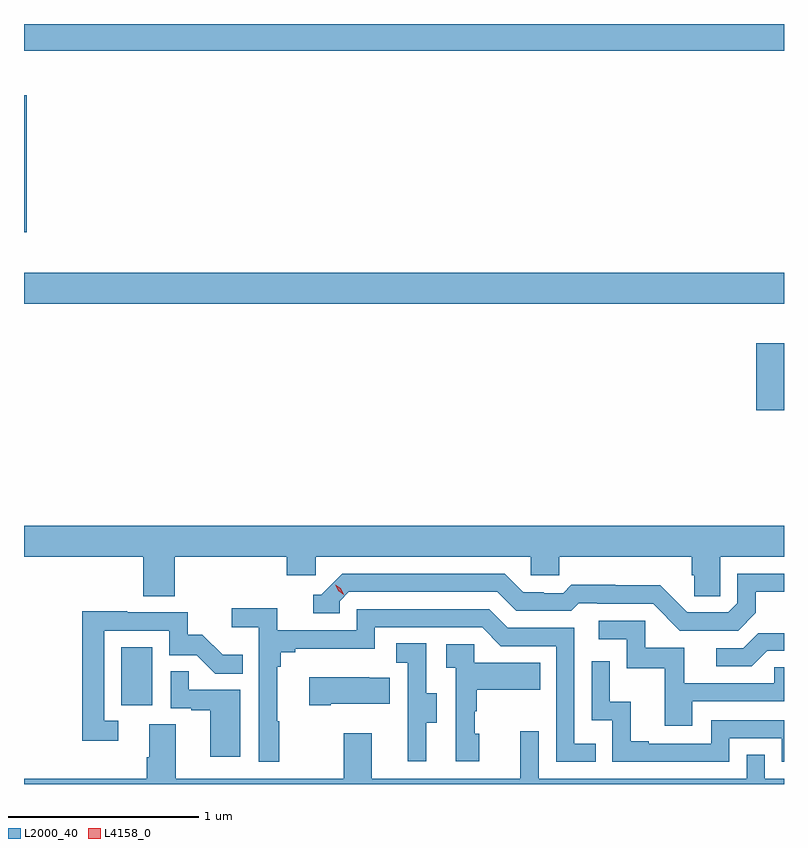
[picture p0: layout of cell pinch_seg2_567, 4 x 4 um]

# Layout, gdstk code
import gdstk
lib = gdstk.Library(unit=1e-6, precision=1e-09)
def R(c, l, rs):  # rectangles x0, y0, x1, y1
    for r in rs: c.add(gdstk.rectangle(r[:2], r[2:], *l))
def P(c, l, *ps):  # polygons
    for p in ps: c.add(gdstk.Polygon(p, *l))
L2000_40 = (2000, 40)
L4158_0 = (4158, 0)

pinch_seg2_567 = lib.new_cell('pinch_seg2_567')
R(pinch_seg2_567, L2000_40, [(1079.96,614.886,1080.124,615.193), (1083.302,616.439,1083.449,616.792), (1079.449,617,1083.449,617.164), (1079.449,617.376,1079.464,618.097), (1079.449,618.332,1083.449,618.472)])
P(pinch_seg2_567, L2000_40, [(1080.242,615.668),(1080.833,615.668),(1080.833,615.57),(1080.984,615.57),(1080.984,615.668),(1082.115,615.668),(1082.115,615.57),(1082.265,615.57),(1082.265,615.668),(1082.963,615.668),(1082.963,615.57),(1082.977,615.57),(1082.977,615.46),(1083.114,615.46),(1083.114,615.668),(1083.449,615.668),(1083.449,615.832),(1079.449,615.832),(1079.449,615.668),(1080.077,615.668),(1080.077,615.46),(1080.242,615.46)],
  [(1083.301,615.373),(1083.301,615.483),(1083.449,615.483),(1083.449,615.579),(1083.204,615.579),(1083.204,615.423),(1083.156,615.375),(1082.94,615.375),(1082.798,615.517),(1082.562,615.517),(1082.562,615.52),(1082.329,615.52),(1082.287,615.477),(1082.184,615.477),(1082.184,615.48),(1082.077,615.48),(1081.978,615.579),(1081.125,615.579),(1081.014,615.468),(1080.971,615.468),(1080.971,615.372),(1081.11,615.372),(1081.11,615.435),(1081.158,615.483),(1081.941,615.483),(1082.04,615.384),(1082.329,615.384),(1082.368,615.423),(1082.467,615.423),(1082.467,615.42),(1082.76,615.42),(1082.901,615.279),(1083.207,615.279)],
  [(1080.793,614.801),(1080.781,614.801),(1080.781,615.089),(1080.8,615.089),(1080.8,615.166),(1080.877,615.166),(1080.877,615.185),(1081.296,615.185),(1081.296,615.297),(1081.86,615.297),(1081.959,615.198),(1082.25,615.198),(1082.25,614.589),(1082.459,614.589),(1082.459,614.685),(1082.346,614.685),(1082.346,615.294),(1081.996,615.294),(1081.897,615.393),(1081.2,615.393),(1081.2,615.282),(1080.782,615.282),(1080.782,615.398),(1080.543,615.398),(1080.543,615.296),(1080.684,615.296),(1080.684,614.589),(1080.793,614.589)],
  [(1079.944,614.805),(1079.871,614.805),(1079.871,615.279),(1080.213,615.279),(1080.213,615.15),(1080.357,615.15),(1080.455,615.052),(1080.599,615.052),(1080.599,615.151),(1080.495,615.151),(1080.388,615.258),(1080.312,615.258),(1080.312,615.375),(1079.993,615.375),(1079.993,615.38),(1079.755,615.38),(1079.755,614.7),(1079.944,614.7)],
  [(1082.965,614.907),(1083.449,614.907),(1083.449,615.087),(1083.397,615.087),(1083.397,615.003),(1082.923,615.003),(1082.923,615.189),(1082.718,615.189),(1082.718,615.33),(1082.475,615.33),(1082.475,615.234),(1082.622,615.234),(1082.622,615.081),(1082.821,615.081),(1082.821,614.778),(1082.965,614.778)],
  [(1083.361,615.174),(1083.449,615.174),(1083.449,615.266),(1083.314,615.266),(1083.234,615.186),(1083.093,615.186),(1083.093,615.093),(1083.28,615.093)],
  [(1081.567,614.794),(1081.621,614.794),(1081.621,614.949),(1081.566,614.949),(1081.566,615.212),(1081.407,615.212),(1081.407,615.109),(1081.47,615.109),(1081.47,614.805),(1081.469,614.805),(1081.469,614.592),(1081.567,614.592)],
  [(1081.846,614.736),(1081.821,614.736),(1081.821,614.855),(1081.831,614.855),(1081.831,614.969),(1082.165,614.969),(1082.165,615.109),(1081.818,615.109),(1081.818,615.207),(1081.671,615.207),(1081.671,615.083),(1081.722,615.083),(1081.722,614.592),(1081.846,614.592)],
  [(1083.162,614.712),(1083.438,614.712),(1083.438,614.589),(1083.449,614.589),(1083.449,614.808),(1083.066,614.808),(1083.066,614.685),(1082.737,614.685),(1082.737,614.698),(1082.642,614.698),(1082.642,614.906),(1082.532,614.906),(1082.532,615.118),(1082.436,615.118),(1082.436,614.808),(1082.544,614.808),(1082.544,614.589),(1083.162,614.589)],
  [(1080.586,614.967),(1080.317,614.967),(1080.317,615.065),(1080.222,615.065),(1080.222,614.871),(1080.329,614.871),(1080.329,614.859),(1080.428,614.859),(1080.428,614.616),(1080.586,614.616)],
  [(1081.063,614.894),(1081.373,614.894),(1081.373,615.031),(1081.265,615.031),(1081.265,615.034),(1080.951,615.034),(1080.951,614.887),(1081.063,614.887)],
  [(1083.449,614.5),(1083.348,614.5),(1083.348,614.627),(1083.252,614.627),(1083.252,614.5),(1082.157,614.5),(1082.157,614.749),(1082.06,614.749),(1082.06,614.5),(1081.279,614.5),(1081.279,614.74),(1081.132,614.74),(1081.132,614.5),(1080.247,614.5),(1080.247,614.786),(1080.107,614.786),(1080.107,614.612),(1080.095,614.612),(1080.095,614.5),(1079.449,614.5),(1079.449,614.472),(1083.449,614.472)])
P(pinch_seg2_567, L4158_0, [(1081.133,615.468),(1081.102,615.488),(1081.086,615.52),(1081.086,615.52),(1081.086,615.52),(1081.117,615.501),(1081.133,615.469),(1081.133,615.468)])

lib.write_gds('pinch_seg2_567.gds')
